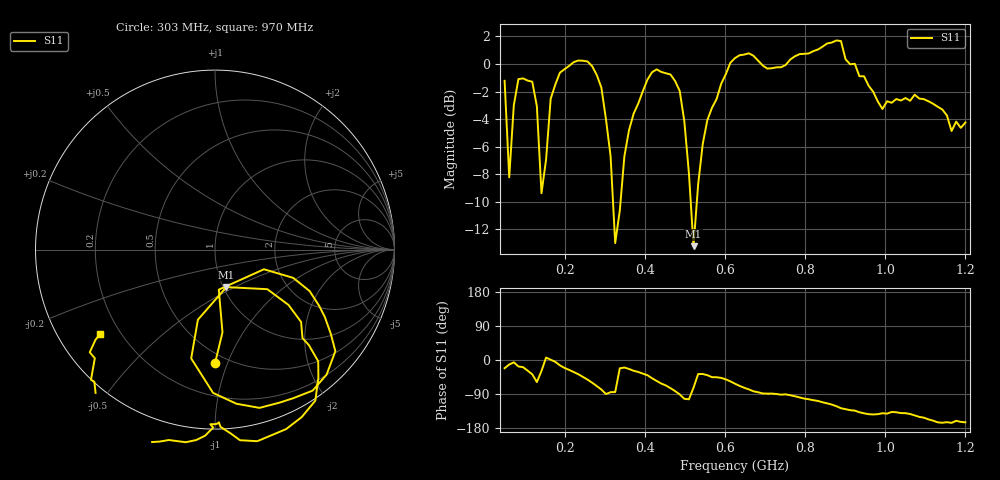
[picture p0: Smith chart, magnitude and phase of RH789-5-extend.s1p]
# HZ S RI R 50
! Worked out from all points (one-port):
!   101 points, 50 MHz to 1.2 GHz, reference 50 ohm
!   lowest |S11| = -13.2 dB at 521.5 MHz (marker M1), VSWR 1.56, Z = 51.7 - j22.7 ohm
!   |S11| at or under -10 dB: 320.5 MHz to 339.3 MHz (18.8 MHz wide, 5.7 % of centre); 514.5 MHz to 529.8 MHz (15.24 MHz wide, 2.92 % of centre)
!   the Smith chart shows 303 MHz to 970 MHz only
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5e7  0.8075 -0.3208
6.15e7  0.3797 -0.0805
8.45e7  0.8425 -0.2584
1.19e8  0.6817 -0.5277
1.305e8  0.3702 -0.5976
1.42e8  0.2975 -0.1643
1.535e8  0.4476 0.0499
1.65e8  0.7482 0.0109
1.995e8  0.8946 -0.341
2.34e8  0.8154 -0.628
2.8e8  0.3313 -0.8497
3.03e8  0.000925 -0.6298
3.26e8  0.0211 -0.2231
3.375e8  0.2728 -0.1096
4.065e8  0.6707 -0.5659
4.41e8  0.4368 -0.8276
4.87e8  -0.0106 -0.7985
4.985e8  -0.1327 -0.6062
5.215e8  0.0637 -0.2089
5.56e8  0.4796 -0.4029
6.25e8  0.4837 -0.9327
6.94e8  0.0309 -0.9875
7.745e8  -0.1048 -1.061
8.78e8  -0.6432 -1.033
9.125e8  -0.6722 -0.7364
9.815e8  -0.583 -0.4408
1.062e9  -0.5839 -0.447
1.2e9  -0.591 -0.1641
